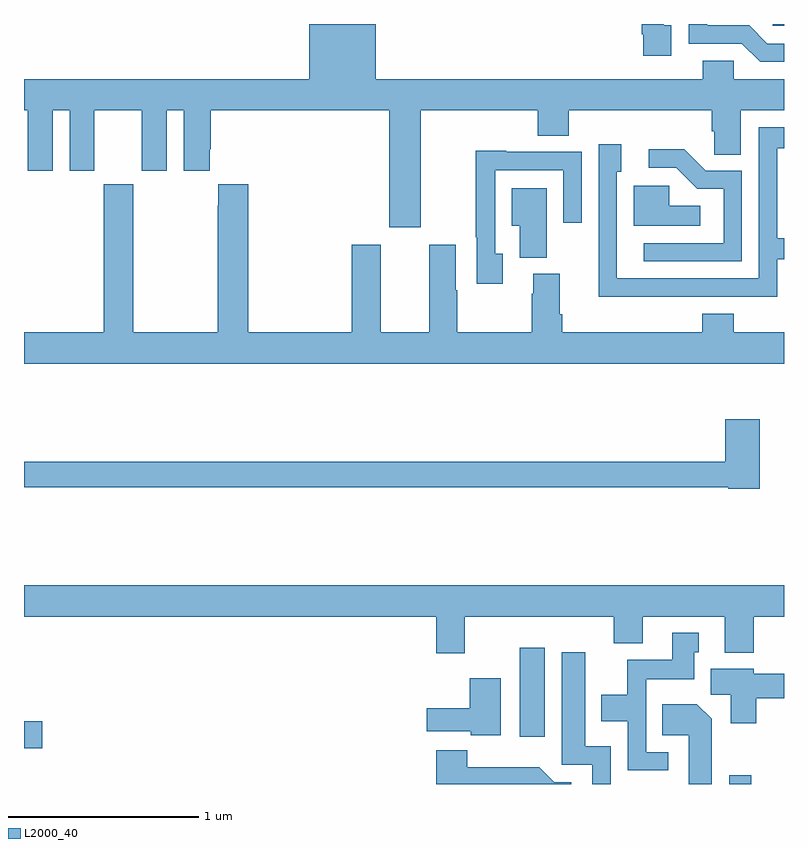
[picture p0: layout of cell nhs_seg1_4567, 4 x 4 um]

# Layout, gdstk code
import gdstk
lib = gdstk.Library(unit=1e-6, precision=1e-09)
def R(c, l, rs):  # rectangles x0, y0, x1, y1
    for r in rs: c.add(gdstk.rectangle(r[:2], r[2:], *l))
def P(c, l, *ps):  # polygons
    for p in ps: c.add(gdstk.Polygon(p, *l))
L2000_40 = (2000, 40)

nhs_seg1_4567 = lib.new_cell('nhs_seg1_4567')
R(nhs_seg1_4567, L2000_40, [(362.712,536.199,362.828,536.245), (359,536.386,359.095,536.528), (361.61,536.448,361.741,536.917), (362.942,540.191,363,540.199)])
P(nhs_seg1_4567, L2000_40, [(363,540.096),(362.913,540.096),(362.817,540.192),(362.595,540.192),(362.595,540.199),(362.498,540.199),(362.498,540.096),(362.778,540.096),(362.874,540),(363,540)],
  [(359,539.744),(359.021,539.744),(359.021,539.427),(359.152,539.427),(359.152,539.744),(359.24,539.744),(359.24,539.427),(359.371,539.427),(359.371,539.744),(359.621,539.744),(359.621,539.427),(359.752,539.427),(359.752,539.744),(359.84,539.744),(359.84,539.427),(359.977,539.427),(359.977,539.539),(359.984,539.539),(359.984,539.744),(360.923,539.744),(360.923,539.13),(361.087,539.13),(361.087,539.744),(361.703,539.744),(361.703,539.611),(361.868,539.611),(361.868,539.744),(362.621,539.744),(362.621,539.635),(362.634,539.635),(362.634,539.512),(362.773,539.512),(362.773,539.744),(363,539.744),(363,539.908),(362.736,539.908),(362.736,540.006),(362.573,540.006),(362.573,539.908),(360.85,539.908),(360.85,540.199),(360.5,540.199),(360.5,539.908),(359,539.908)],
  [(362.407,540.193),(362.367,540.193),(362.367,540.199),(362.251,540.199),(362.251,540.145),(362.259,540.145),(362.259,540.033),(362.407,540.033)],
  [(362.486,538.764),(362.964,538.764),(362.964,538.962),(363,538.962),(363,539.071),(362.965,539.071),(362.965,539.544),(363,539.544),(363,539.655),(362.868,539.655),(362.868,538.86),(362.121,538.86),(362.121,539.421),(362.143,539.421),(362.143,539.566),(362.025,539.566),(362.025,539.066),(362.024,539.066),(362.024,538.763),(362.486,538.763)],
  [(362.778,539.427),(362.589,539.427),(362.476,539.54),(362.289,539.54),(362.289,539.442),(362.433,539.442),(362.544,539.331),(362.682,539.331),(362.682,539.046),(362.262,539.046),(362.262,538.95),(362.778,538.95)],
  [(361.519,538.989),(361.479,538.989),(361.479,539.43),(361.839,539.43),(361.839,539.154),(361.935,539.154),(361.935,539.526),(361.539,539.526),(361.539,539.533),(361.378,539.533),(361.378,539.077),(361.383,539.077),(361.383,538.833),(361.519,538.833)],
  [(363,538.576),(362.735,538.576),(362.735,538.675),(362.57,538.675),(362.57,538.576),(361.832,538.576),(361.832,538.672),(361.819,538.672),(361.819,538.884),(361.679,538.884),(361.679,538.778),(361.672,538.778),(361.672,538.576),(361.281,538.576),(361.281,538.799),(361.273,538.799),(361.273,539.038),(361.133,539.038),(361.133,538.576),(360.877,538.576),(360.877,539.038),(360.725,539.038),(360.725,538.576),(360.179,538.576),(360.179,539.356),(360.023,539.356),(360.023,539.243),(360.019,539.243),(360.019,538.576),(359.574,538.576),(359.574,539.356),(359.419,539.356),(359.419,538.576),(359,538.576),(359,538.412),(363,538.412)],
  [(362.56,539.242),(362.397,539.242),(362.397,539.349),(362.21,539.349),(362.21,539.138),(362.56,539.138)],
  [(361.75,539.335),(361.568,539.335),(361.568,539.138),(361.61,539.138),(361.61,538.969),(361.75,538.969)],
  [(362.873,538.12),(362.69,538.12),(362.69,537.896),(359,537.896),(359,537.76),(362.706,537.76),(362.706,537.752),(362.873,537.752)],
  [(361.321,537.08),(362.105,537.08),(362.105,536.939),(362.257,536.939),(362.257,537.08),(362.687,537.08),(362.687,536.891),(362.84,536.891),(362.84,537.08),(363,537.08),(363,537.244),(359,537.244),(359,537.08),(361.169,537.08),(361.169,536.886),(361.321,536.886)],
  [(362.392,536.367),(362.274,536.367),(362.274,536.75),(362.527,536.75),(362.527,536.892),(362.551,536.892),(362.551,536.995),(362.411,536.995),(362.411,536.854),(362.176,536.854),(362.176,536.668),(362.039,536.668),(362.039,536.528),(362.178,536.528),(362.178,536.271),(362.392,536.271)],
  [(362.088,536.398),(361.954,536.398),(361.954,536.893),(361.829,536.893),(361.829,536.301),(361.992,536.301),(361.992,536.199),(362.088,536.199)],
  [(362.855,536.65),(363,536.65),(363,536.779),(362.842,536.779),(362.842,536.806),(362.615,536.806),(362.615,536.668),(362.72,536.668),(362.72,536.52),(362.855,536.52)],
  [(361.51,536.755),(361.346,536.755),(361.346,536.599),(361.119,536.599),(361.119,536.477),(361.35,536.477),(361.35,536.456),(361.51,536.456)],
  [(362.62,536.542),(362.542,536.62),(362.359,536.62),(362.359,536.456),(362.498,536.456),(362.498,536.199),(362.62,536.199)],
  [(361.879,536.208),(361.791,536.208),(361.713,536.287),(361.334,536.287),(361.334,536.377),(361.169,536.377),(361.169,536.199),(361.879,536.199)])

lib.write_gds('nhs_seg1_4567.gds')
